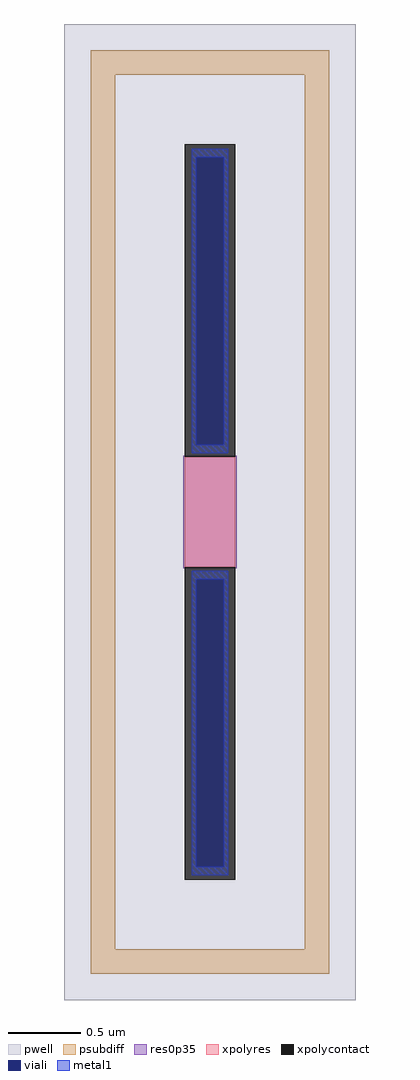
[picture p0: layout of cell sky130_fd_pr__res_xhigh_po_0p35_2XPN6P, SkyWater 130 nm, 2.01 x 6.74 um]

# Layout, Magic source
magic
tech sky130A
magscale 1 2
<< pwell >>
rect -201 -674 201 674
<< psubdiff >>
rect -165 604 165 638
rect -165 -604 -131 604
rect 131 -604 165 604
rect -165 -638 165 -604
<< xpolycontact >>
rect -35 76 35 508
rect -35 -508 35 -76
<< xpolyres >>
rect -35 -76 35 76
<< viali >>
rect -19 93 19 490
rect -19 -490 19 -93
<< metal1 >>
rect -25 490 25 502
rect -25 93 -19 490
rect 19 93 25 490
rect -25 81 25 93
rect -25 -93 25 -81
rect -25 -490 -19 -93
rect 19 -490 25 -93
rect -25 -502 25 -490
<< res0p35 >>
rect -37 -78 37 78
<< properties >>
string gencell sky130_fd_pr__res_xhigh_po_0p35
string FIXED_BBOX -148 -621 148 621
string parameters w 0.350 l 0.76 m 1 nx 1 wmin 0.350 lmin 0.50 rho 2000 val 5.028k dummy 0 dw 0.0 term 120 sterm 0.0 caplen 0 wmax 0.350 guard 1 glc 0 grc 0 gtc 0 gbc 0 compatible {sky130_fd_pr__res_xhigh_po_0p35  sky130_fd_pr__res_xhigh_po_0p69 sky130_fd_pr__res_xhigh_po_1p41  sky130_fd_pr__res_xhigh_po_2p85 sky130_fd_pr__res_xhigh_po_5p73} full_metal 0 vias 1 viagb 0 viagt 0 viagl 0 viagr 0
string library sky130
<< end >>
